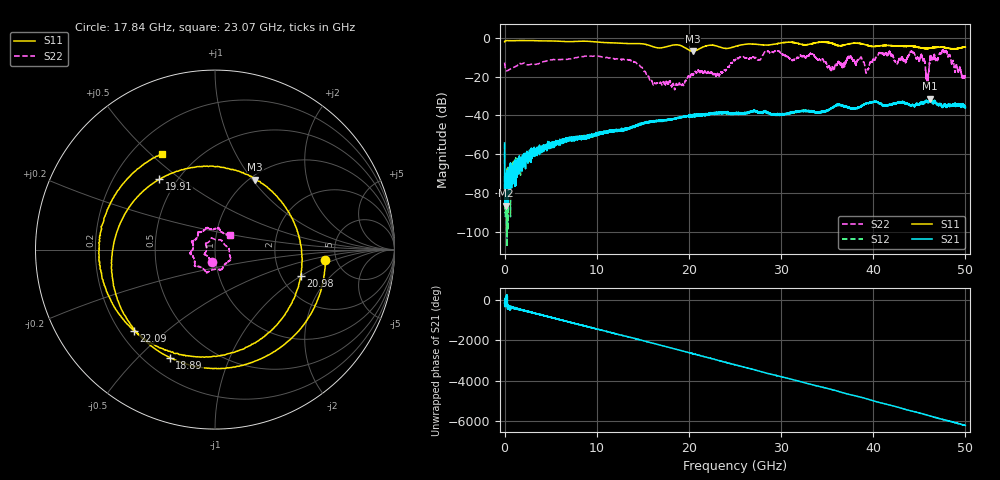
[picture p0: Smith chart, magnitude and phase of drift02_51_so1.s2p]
!Created with skrf (http://scikit-rf.org).
# Hz S RI R 50.0
!freq ReS11 ImS11 ReS21 ImS21 ReS12 ImS12 ReS22 ImS22
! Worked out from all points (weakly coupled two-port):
!   10001 points, 300 kHz to 50 GHz, reference 50 ohm
!   highest |S21| = -31.34 dB at 46.19 GHz (marker M1); lowest = -86.6 dB at 155.3 MHz (marker M2)
!   lowest |S11| = -6.9 dB at 20.4 GHz (marker M3), VSWR 2.64, Z = 52.9 + j51.7 ohm
!   |S11| at or under -10 dB: nowhere
!   |S22| runs from -26.7 to -6.0 dB; largest |S21 - S12| = 0.0033
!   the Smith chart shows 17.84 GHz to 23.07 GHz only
!   S11 on the Smith chart (normalised r, x): 17.84 GHz: 4.08, -0.77; 18.89 GHz: 0.30, -0.62; 19.91 GHz: 0.40, +0.42; 20.98 GHz: 2.56, -0.99; 22.09 GHz: 0.26, -0.39; 23.07 GHz: 0.32, +0.55
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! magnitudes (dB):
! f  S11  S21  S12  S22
! 300 kHz  -2.1  -54.3  -54.6  -12.8
! 155.3 MHz  -1.4  -86.6  -91.1  -16.8
! 3.165 GHz  -1.4  -57.7  -58.4  -13.5
! 8.335 GHz  -1.7  -51.5  -51.3  -9.7
! 13.71 GHz  -3.0  -46.3  -46.2  -11.7
! 16.67 GHz  -5.2  -42.7  -43.0  -23.6
! 17.84 GHz  -4.2  -42.2  -42.3  -23.0
! 18.89 GHz  -3.7  -41.5  -41.3  -24.0
! 19.91 GHz  -6.0  -40.2  -40.5  -20.0
! 20.4 GHz  -6.9  -40.5  -40.2  -19.0
! 20.98 GHz  -6.0  -40.0  -40.0  -16.8
! 22.09 GHz  -3.9  -39.2  -39.3  -17.4
! 23.07 GHz  -4.3  -38.6  -38.7  -18.5
! 25 GHz  -4.5  -39.0  -38.9  -11.6
! 33.34 GHz  -3.0  -37.8  -37.9  -8.4
! 39.33 GHz  -3.8  -33.7  -33.6  -16.6
! 41.67 GHz  -3.9  -34.4  -34.8  -7.7
! 44.26 GHz  -4.2  -34.7  -34.4  -7.5
! 45.86 GHz  -5.4  -33.0  -32.9  -21.1
! 46.19 GHz  -5.3  -31.3  -31.7  -9.9
! 47.74 GHz  -5.0  -34.6  -34.4  -7.2
! 50 GHz  -4.7  -35.6  -36.1  -18.7
